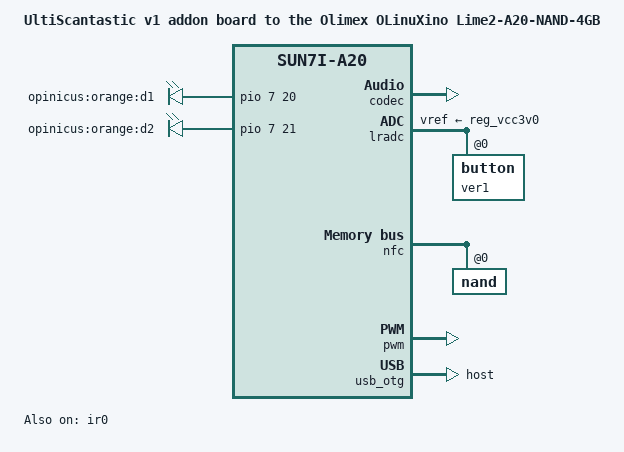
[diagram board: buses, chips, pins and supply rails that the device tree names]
/*
 * Copyright 2015 - Olliver Schinagl <oliver@schinagl.nl>
 *
 * This file is dual-licensed: you can use it either under the terms
 * of the GPL or the X11 license, at your option. Note that this dual
 * licensing only applies to this file, and not this project as a
 * whole.
 *
 *  a) This file is free software; you can redistribute it and/or
 *     modify it under the terms of the GNU General Public License as
 *     published by the Free Software Foundation; either version 2 of the
 *     License, or (at your option) any later version.
 *
 *     This file is distributed in the hope that it will be useful,
 *     but WITHOUT ANY WARRANTY; without even the implied warranty of
 *     MERCHANTABILITY or FITNESS FOR A PARTICULAR PURPOSE.  See the
 *     GNU General Public License for more details.
 *
 * Or, alternatively,
 *
 *  b) Permission is hereby granted, free of charge, to any person
 *     obtaining a copy of this software and associated documentation
 *     files (the "Software"), to deal in the Software without
 *     restriction, including without limitation the rights to use,
 *     copy, modify, merge, publish, distribute, sublicense, and/or
 *     sell copies of the Software, and to permit persons to whom the
 *     Software is furnished to do so, subject to the following
 *     conditions:
 *
 *     The above copyright notice and this permission notice shall be
 *     included in all copies or substantial portions of the Software.
 *
 *     THE SOFTWARE IS PROVIDED "AS IS", WITHOUT WARRANTY OF ANY KIND,
 *     EXPRESS OR IMPLIED, INCLUDING BUT NOT LIMITED TO THE WARRANTIES
 *     OF MERCHANTABILITY, FITNESS FOR A PARTICULAR PURPOSE AND
 *     NONINFRINGEMENT. IN NO EVENT SHALL THE AUTHORS OR COPYRIGHT
 *     HOLDERS BE LIABLE FOR ANY CLAIM, DAMAGES OR OTHER LIABILITY,
 *     WHETHER IN AN ACTION OF CONTRACT, TORT OR OTHERWISE, ARISING
 *     FROM, OUT OF OR IN CONNECTION WITH THE SOFTWARE OR THE USE OR
 *     OTHER DEALINGS IN THE SOFTWARE.
 */

#include "sun7i-a20-olinuxino-lime2-nand-4gb.dts"

#include <dt-bindings/gpio/gpio.h>
#include <dt-bindings/input/input.h>
#include <dt-bindings/pinctrl/sun4i-a10.h>
#include <dt-bindings/pwm/pwm.h>

/ {
	model = "UltiScantastic v1 addon board to the Olimex OLinuXino Lime2-A20-NAND-4GB";
	compatible = "ultimaker,ultiscantastic-nand-4gb-v1", "olimex,a20-olinuxino-lime2", "allwinner,sun7i-a20";

	leds {
		green {
			linux,default-trigger = "mmc0";
		};

		d1 {
			label = "opinicus:orange:d1";
			gpios = <&pio 7 20 GPIO_ACTIVE_HIGH>;
			default-state = "on";
		};

		d2 {
			label = "opinicus:orange:d2";
			gpios = <&pio 7 21 GPIO_ACTIVE_HIGH>;
			default-state = "on";
		};
	};
};

&codec {
	routing =
		"Headphone Jack", "HP Left",
		"Headphone Jack", "HP Right";
	status = "okay";
};

&lradc {
	vref-supply = <&reg_vcc3v0>; /* move to lime define, maybe whole thing */
	status = "okay";

	button@0 {
		label = "ver1";
		linux,code = <1>;
		channel = <1>;
		voltage = <0>;
	};
};

&nfc {
	nand@0 {
		u-boot@0 {
			label = "u-boot";
			reg = /bits/ 64 <0x0 0x200000>;
			nand-ecc-mode = "hw_syndrome";
			nand-ecc-strength = <64>;
			nand-rnd-mode = "hw";
			nand-randomizer-seeds = /bits/ 16 <0x4a80>;
		};

		u-boot-rescue@200000 {
			label = "u-boot-rescue";
			reg = /bits/ 64 <0x200000 0x200000>;
			nand-ecc-mode = "hw_syndrome";
			nand-ecc-strength = <64>;
			nand-rnd-mode = "hw";
			nand-randomizer-seeds = /bits/ 16 <0x4a80>;
		};

		main@400000 {
			label = "main";
			reg = /bits/ 64 <0x400000 0xffc00000>;
			nand-rnd-mode = "hw";
			nand-randomizer-seeds = /bits/ 16 <
				0x2b75 0x0bd0 0x5ca3 0x62d1 0x1c93 0x07e9 0x2162 0x3a72
				0x0d67 0x67f9 0x1be7 0x077d 0x032f 0x0dac 0x2716 0x2436
				0x7922 0x1510 0x3860 0x5287 0x480f 0x4252 0x1789 0x5a2d
				0x2a49 0x5e10 0x437f 0x4b4e 0x2f45 0x216e 0x5cb7 0x7130
				0x2a3f 0x60e4 0x4dc9 0x0ef0 0x0f52 0x1bb9 0x6211 0x7a56
				0x226d 0x4ea7 0x6f36 0x3692 0x38bf 0x0c62 0x05eb 0x4c55
				0x60f4 0x728c 0x3b6f 0x2037 0x7f69 0x0936 0x651a 0x4ceb
				0x6218 0x79f3 0x383f 0x18d9 0x4f05 0x5c82 0x2912 0x6f17
				0x6856 0x5938 0x1007 0x61ab 0x3e7f 0x57c2 0x542f 0x4f62
				0x7454 0x2eac 0x7739 0x42d4 0x2f90 0x435a 0x2e52 0x2064
				0x637c 0x66ad 0x2c90 0x0bad 0x759c 0x0029 0x0986 0x7126
				0x1ca7 0x1605 0x386a 0x27f5 0x1380 0x6d75 0x24c3 0x0f8e
				0x2b7a 0x1418 0x1fd1 0x7dc1 0x2d8e 0x43af 0x2267 0x7da3
				0x4e3d 0x1338 0x50db 0x454d 0x764d 0x40a3 0x42e6 0x262b
				0x2d2e 0x1aea 0x2e17 0x173d 0x3a6e 0x71bf 0x25f9 0x0a5d
				0x7c57 0x0fbe 0x46ce 0x4939 0x6b17 0x37bb 0x3e91 0x76db>;
		};
	};
};

&pio {
	led_pins_opinicus: led_pins@0 {
		allwinner,pins = "PH20";
		allwinner,function = "gpio_out";
		allwinner,drive = <SUN4I_PINCTRL_20_MA>;
		allwinner,pull = <SUN4I_PINCTRL_NO_PULL>;
	};
};

&pwm {
	pinctrl-names = "default";
	pinctrl-0 = <&pwm1_pins_a>;
	status = "okay";
};

&ir0 {
	pinctrl-names = "default";
	pinctrl-0 = <&ir0_rx_pins_a &ir0_tx_pins_a>;
	linux,rc-map-name = "rc-rc5-mce";
	status = "okay";
};

&usb_otg {
	dr_mode = "host";
};

&usbphy {
	/* Unset otg detect pins as we force dr_mode */
	/delete-property/ usb0_id_det-gpio;
	/delete-property/ usb0_vbus_det-gpio;
};
